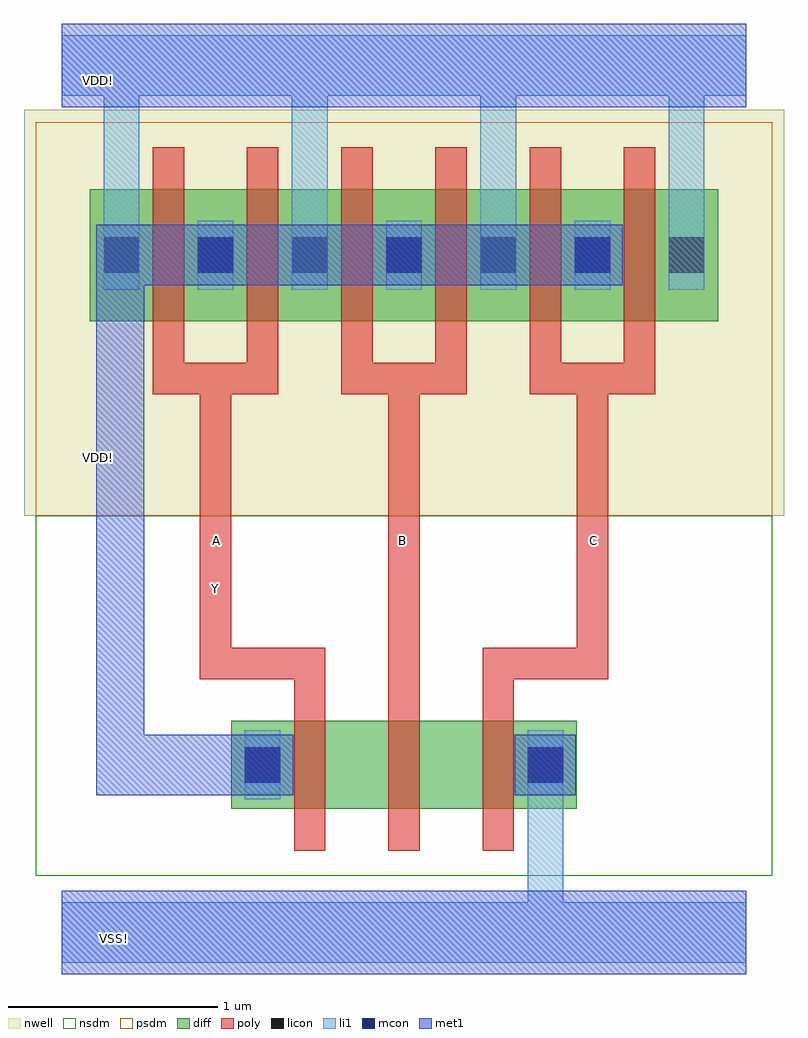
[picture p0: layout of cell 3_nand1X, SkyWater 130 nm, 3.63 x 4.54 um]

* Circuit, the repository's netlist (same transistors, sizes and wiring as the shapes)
** sch_path: /foss/designs/Curso_Semiconductores/3_nand1X/3_nand1X.sch
.subckt 3_nand1X A C B Y VDD! VSS!
*.PININFO A:I B:I C:I Y:O VDD!:B VSS!:B
XM1 Y A VDD! VDD! sky130_fd_pr__pfet_01v8 L=0.15 W=0.63 nf=1 m=2
XM2 Y A net1 VSS! sky130_fd_pr__nfet_01v8 L=0.15 W=0.42 nf=1
XM5 net1 B net2 VSS! sky130_fd_pr__nfet_01v8 L=0.15 W=0.42 nf=1
XM6 net2 C VSS! VSS! sky130_fd_pr__nfet_01v8 L=0.15 W=0.42 nf=1
XM3 Y B VDD! VDD! sky130_fd_pr__pfet_01v8 L=0.15 W=0.63 nf=1 m=2
XM4 Y C VDD! VDD! sky130_fd_pr__pfet_01v8 L=0.15 W=0.63 nf=1 m=2
.ends

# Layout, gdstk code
import gdstk
lib = gdstk.Library(unit=1e-6, precision=1e-09)
def R(c, l, rs):  # rectangles x0, y0, x1, y1
    for r in rs: c.add(gdstk.rectangle(r[:2], r[2:], *l))
def A(c, l, x, y, w, h, nx, ny, dx, dy):  # array of equal rectangles
    R(c, l, [(x+i*dx, y+j*dy, x+i*dx+w, y+j*dy+h) for i in range(nx) for j in range(ny)])
nwell = (64, 20)
diff = (65, 20)
poly = (66, 20)
licon = (66, 44)
li1 = (67, 20)
mcon = (67, 44)
met1 = (68, 20)
nsdm = (93, 44)
psdm = (94, 20)

c_3_nand1x = lib.new_cell('3_nand1X')
R(c_3_nand1x, nwell, [(-0.03,2.62,1.34,4.56), (0.43,2.62,1.79,4.56), (1.33,2.62,2.69,4.56), (2.23,2.62,3.6,4.56), (0.88,2.83,2.24,4.56), (1.78,2.83,3.14,4.56)])
A(c_3_nand1x, diff, 0.96, 1.22, 0.75, 0.42, 3, 1, 0.45, 0)
A(c_3_nand1x, diff, 0.285, 3.55, 0.75, 0.63, 6, 1, 0.45, 0)
A(c_3_nand1x, poly, 1.26, 1.02, 0.15, 0.82, 3, 1, 0.45, 0)
A(c_3_nand1x, poly, 0.585, 3.35, 0.15, 1.03, 6, 1, 0.45, 0)
R(c_3_nand1x, licon, [(1.025,1.345,1.195,1.515), (2.375,1.345,2.545,1.515), (0.35,3.78,0.52,3.95), (0.8,3.78,0.97,3.95), (0.8,3.78,0.97,3.95), (1.25,3.78,1.42,3.95), (1.25,3.78,1.42,3.95), (1.7,3.78,1.87,3.95), (1.7,3.78,1.87,3.95), (2.15,3.78,2.32,3.95), (2.15,3.78,2.32,3.95), (2.6,3.78,2.77,3.95), (2.6,3.78,2.77,3.95), (3.05,3.78,3.22,3.95)])
R(c_3_nand1x, li1, [(0.15,0.485,3.42,0.775), (1.025,1.265,1.195,1.595), (2.375,1.265,2.545,1.595), (0.35,3.7,0.52,4.03), (0.8,3.7,0.97,4.03), (0.8,3.7,0.97,4.03), (1.25,3.7,1.42,4.03), (1.25,3.7,1.42,4.03), (1.7,3.7,1.87,4.03), (1.7,3.7,1.87,4.03), (2.15,3.7,2.32,4.03), (2.15,3.7,2.32,4.03), (2.6,3.7,2.77,4.03), (2.6,3.7,2.77,4.03), (3.05,3.7,3.22,4.03), (0.15,4.625,3.42,4.915)])
R(c_3_nand1x, mcon, [(1.025,1.345,1.195,1.515), (2.375,1.345,2.545,1.515), (0.8,3.78,0.97,3.95), (0.8,3.78,0.97,3.95), (1.7,3.78,1.87,3.95), (1.7,3.78,1.87,3.95), (2.6,3.78,2.77,3.95), (2.6,3.78,2.77,3.95)])
R(c_3_nand1x, met1, [(0.15,0.43,3.42,0.83), (0.965,1.285,1.255,1.575), (2.315,1.285,2.605,1.575), (0.74,3.72,1.03,4.01), (0.74,3.72,1.03,4.01), (1.64,3.72,1.93,4.01), (1.64,3.72,1.93,4.01), (2.54,3.72,2.83,4.01), (2.54,3.72,2.83,4.01), (0.15,4.57,3.42,4.97)])
A(c_3_nand1x, nsdm, 0.835, 1.095, 1, 0.67, 3, 1, 0.45, 0)
R(c_3_nand1x, nsdm, [(0.025,0.9,3.545,2.62)])
A(c_3_nand1x, psdm, 0.16, 3.425, 1, 0.88, 6, 1, 0.45, 0)
R(c_3_nand1x, psdm, [(0.025,2.62,3.545,4.5)])
c_3_nand1x.add(gdstk.FlexPath([(0.435,4.03),(0.435,4.65)], 0.17, ends="flush", simple_path=True, layer=67, datatype=20))  # li1
c_3_nand1x.add(gdstk.FlexPath([(1.335,4.03),(1.335,4.65)], 0.17, ends="flush", simple_path=True, layer=67, datatype=20))  # li1
c_3_nand1x.add(gdstk.FlexPath([(2.235,4.03),(2.235,4.65)], 0.17, ends="flush", simple_path=True, layer=67, datatype=20))  # li1
c_3_nand1x.add(gdstk.FlexPath([(3.135,4.03),(3.135,4.65)], 0.17, ends="flush", simple_path=True, layer=67, datatype=20))  # li1
c_3_nand1x.add(gdstk.FlexPath([(2.46,1.265),(2.46,0.775)], 0.17, ends="flush", simple_path=True, layer=67, datatype=20))  # li1
c_3_nand1x.add(gdstk.FlexPath([(0.43,3.72),(0.43,1.43)], 0.23, ends="flush", simple_path=True, layer=68, datatype=20))  # met1
c_3_nand1x.add(gdstk.FlexPath([(0.74,3.865),(0.315,3.865)], 0.29, ends="flush", simple_path=True, layer=68, datatype=20))  # met1
c_3_nand1x.add(gdstk.FlexPath([(0.965,1.43),(0.315,1.43)], 0.29, ends="flush", simple_path=True, layer=68, datatype=20))  # met1
c_3_nand1x.add(gdstk.FlexPath([(1.03,3.865),(2.83,3.865)], 0.29, ends="flush", simple_path=True, layer=68, datatype=20))  # met1
c_3_nand1x.add(gdstk.FlexPath([(0.585,3.275),(1.185,3.275)], 0.15, ends="flush", simple_path=True, layer=66, datatype=20))  # poly
c_3_nand1x.add(gdstk.FlexPath([(1.485,3.275),(2.085,3.275)], 0.15, ends="flush", simple_path=True, layer=66, datatype=20))  # poly
c_3_nand1x.add(gdstk.FlexPath([(2.385,3.275),(2.985,3.275)], 0.15, ends="flush", simple_path=True, layer=66, datatype=20))  # poly
c_3_nand1x.add(gdstk.FlexPath([(1.785,1.84),(1.785,3.2)], 0.15, ends="flush", simple_path=True, layer=66, datatype=20))  # poly
c_3_nand1x.add(gdstk.FlexPath([(1.185,1.915),(0.885,1.915)], 0.15, ends="flush", simple_path=True, layer=66, datatype=20))  # poly
c_3_nand1x.add(gdstk.FlexPath([(1.185,1.915),(1.41,1.915)], 0.15, ends="flush", simple_path=True, layer=66, datatype=20))  # poly
c_3_nand1x.add(gdstk.FlexPath([(0.885,3.2),(0.885,1.84)], 0.15, ends="flush", simple_path=True, layer=66, datatype=20))  # poly
c_3_nand1x.add(gdstk.FlexPath([(2.385,1.915),(2.685,1.915)], 0.15, ends="flush", simple_path=True, layer=66, datatype=20))  # poly
c_3_nand1x.add(gdstk.FlexPath([(2.385,1.915),(2.16,1.915)], 0.15, ends="flush", simple_path=True, layer=66, datatype=20))  # poly
c_3_nand1x.add(gdstk.FlexPath([(2.685,3.2),(2.685,1.84)], 0.15, ends="flush", simple_path=True, layer=66, datatype=20))  # poly
c_3_nand1x.add(gdstk.Label('VSS!', (0.404,0.602), layer=67, texttype=5))
c_3_nand1x.add(gdstk.Label('VDD!', (0.328,4.699), layer=67, texttype=5))
c_3_nand1x.add(gdstk.Label('Y', (0.887,2.272), layer=68, texttype=5))
c_3_nand1x.add(gdstk.Label('A', (0.89,2.504), layer=66, texttype=5))
c_3_nand1x.add(gdstk.Label('B', (1.78,2.504), layer=66, texttype=5))
c_3_nand1x.add(gdstk.Label('C', (2.69,2.504), layer=66, texttype=5))
c_3_nand1x.add(gdstk.Label('VDD!', (0.328,2.9), layer=64, texttype=5))

lib.write_gds('3_nand1X.gds')
